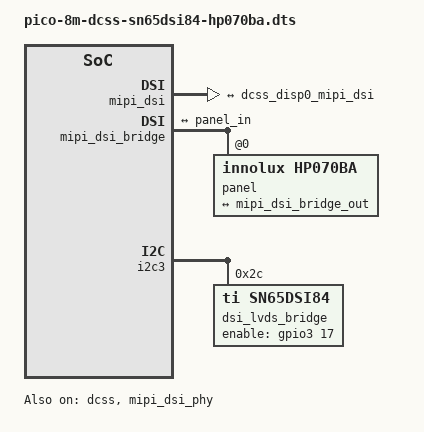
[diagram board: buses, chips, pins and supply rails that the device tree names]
/*
 * Copyright 2018 Technexion Ltd.
 * Copyright 2017 NXP
 *
 * Author: Richard Hu <richard.hu@technexion.com>
 *
 * This program is free software; you can redistribute it and/or
 * modify it under the terms of the GNU General Public License
 * as published by the Free Software Foundation; either version 2
 * of the License, or (at your option) any later version.
 *
 * This program is distributed in the hope that it will be useful,
 * but WITHOUT ANY WARRANTY; without even the implied warranty of
 * MERCHANTABILITY or FITNESS FOR A PARTICULAR PURPOSE.  See the
 * GNU General Public License for more details.
 */

#include "pico-8m.dts"

/ {
	backlight_mipi {
		status = "okay";
	};
};

&hdmi {
	status = "disabled";
};

&dcss {
	status = "okay";
	disp-dev = "mipi_disp";

	clocks = <&clk IMX8MQ_CLK_DISP_APB_ROOT>,
		 <&clk IMX8MQ_CLK_DISP_AXI_ROOT>,
		 <&clk IMX8MQ_CLK_DISP_RTRM_ROOT>,
		 <&clk IMX8MQ_CLK_DC_PIXEL_DIV>,
		 <&clk IMX8MQ_CLK_DUMMY>,
		 <&clk IMX8MQ_CLK_DISP_DTRC_DIV>;
	clock-names = "apb", "axi", "rtrm", "pix_div", "pix_out", "dtrc";

	assigned-clocks = <&clk IMX8MQ_CLK_DC_PIXEL_SRC>,
			  <&clk IMX8MQ_CLK_DISP_AXI_SRC>,
			  <&clk IMX8MQ_CLK_DISP_RTRM_SRC>,
			  <&clk IMX8MQ_CLK_DISP_RTRM_PRE_DIV>,
			  <&clk IMX8MQ_VIDEO_PLL1_REF_SEL>,
			  <&clk IMX8MQ_VIDEO_PLL1>;
	assigned-clock-parents = <&clk IMX8MQ_VIDEO_PLL1_OUT>,
				 <&clk IMX8MQ_SYS1_PLL_800M>,
				 <&clk IMX8MQ_SYS1_PLL_800M>,
				 <&clk IMX8MQ_VIDEO_PLL1_OUT>,
				 <&clk IMX8MQ_CLK_25M>;
	assigned-clock-rates = <600000000>,
			       <800000000>,
			       <400000000>,
			       <400000000>,
			       <0>,
			       <599999999>;

	port@0 {
		reg = <0>;

		dcss_disp0_mipi_dsi: mipi_dsi_endpoint {
			remote-endpoint = <&mipi_dsi_in>;
		};
	};
};

&mipi_dsi_phy {
	status = "okay";
};

&mipi_dsi {
	status = "okay";

	assigned-clocks = <&clk IMX8MQ_CLK_DSI_PHY_REF_SRC>,
						<&clk IMX8MQ_CLK_DSI_CORE_SRC>,
						<&clk IMX8MQ_VIDEO_PLL1_REF_SEL>,
						<&clk IMX8MQ_VIDEO_PLL1>;
	assigned-clock-parents = <&clk IMX8MQ_VIDEO_PLL1_OUT>,
								<&clk IMX8MQ_SYS1_PLL_266M>,
								<&clk IMX8MQ_CLK_25M>;
	assigned-clock-rates = <24000000>,
							<266000000>,
							<0>,
							<599999999>;

	port@1 {
		mipi_dsi_in: dcss_disp_endpoint {
			remote-endpoint = <&dcss_disp0_mipi_dsi>;
		};
	};
};

&mipi_dsi_bridge {
	status = "okay";

	panel@0 {
		reg = <0>;
		compatible = "innolux,hp070ba";
		/* backlight = <&backlight>; */
		/* pinctrl-0 = <&pinctrl_mipi_dsi_rst>; */
		/* enable-gpios = <&gpio3 17 GPIO_ACTIVE_HIGH>; */
		dsi-lanes = <4>;
		panel-width-mm  = <153>;
		panel-height-mm = <90>;

		port {
			panel_in: endpoint {
				remote-endpoint = <&mipi_dsi_bridge_out>;
			};
		};
	};

	port@1 {
		mipi_dsi_bridge_out: endpoint {
			remote-endpoint = <&panel_in>;
		};
	};
};

&i2c3 {
	dsi_lvds_bridge: sn65dsi84@2c {
		reg = <0x2c>;
		status = "okay";
		compatible = "ti,sn65dsi84";
		#gpio-cells = <2>;
		enable-gpios = <&gpio3 17 GPIO_ACTIVE_HIGH>; /* <&pinctrl_mipi_dsi_rst>; */
		sn65dsi84,addresses = <0x09 0x0A 0x0B 0x0D
		                       0x10 0x11 0x12 0x13
                               0x18 0x19 0x1A 0x1B
                               0x20 0x21 0x22 0x23
                               0x24 0x25 0x26 0x27
                               0x28 0x29 0x2A 0x2B
                               0x2C 0x2D 0x2E 0x2F
                               0x30 0x31 0x32 0x33
                               0x34 0x35 0x36 0x37
                               0x38 0x39 0x3A 0x3B
                               0x3C 0x3D 0x3E 0x0D>;

		sn65dsi84,values = </* reset and clock registers */
		                    0x00 0x03 0x10 0x00
                            /* DSI registers */
		                    0x26 0x00 0x1e 0x00
		                    /* LVDS registers */
                            0x7a 0x00 0x03 0x00

                            /* video registers */
                            /* cha-al-len-l, cha-al-len-h, chb-al-len-l, chb-al-len-h */
                            0x00 0x04 0x00 0x00
                            /* cha-v-ds-l, cha-v-ds-h, chb-v-ds-l, chb-v-ds-h */
                            0x00 0x00 0x00 0x00
                            /* cha-sdl, cha-sdh, chb-sdl, chb-sdh */
                            0x21 0x00 0x00 0x00
                            /* cha-hs-pwl, cha-hs-pwh, chb-hs-pwl, chb-hs-pwh */
                            0x64 0x00 0x00 0x00
                            /* cha-vs-pwl, cha-vs-pwh, chb-vs-pwl, chb-vs-pwh */
                            0x21 0x00 0x00 0x00
                            /* cha-hbp, chb-hbp, cha-vbp, chb-vbp*/
                            0x5a 0x00 0x00 0x00
                            /* cha-hfp, chb-hfp, cha-vfp, chb-vfp*/
                            0x00 0x00 0x00 0x00

                            0x00 0x00 0x00 0x01>;
	};
};
